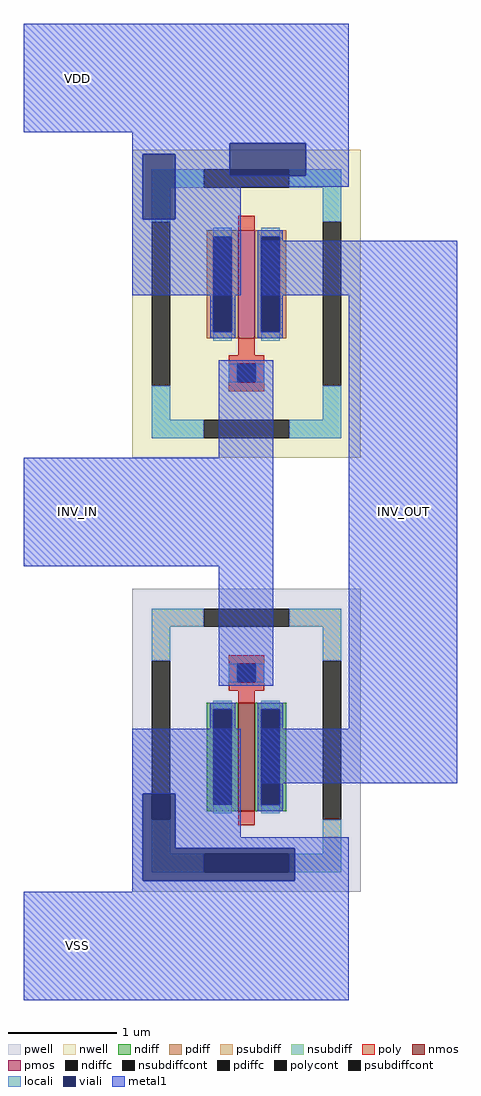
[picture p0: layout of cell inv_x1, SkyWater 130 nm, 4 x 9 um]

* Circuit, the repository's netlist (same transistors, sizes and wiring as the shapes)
** sch_path: /home/ttuser/tt_analog_z2a/xschem/inv_x1.sch
.subckt inv_x1 VDD VSS INV_OUT INV_IN
*.PININFO INV_IN:I INV_OUT:O VDD:B VSS:B
XM3 INV_OUT INV_IN VDD VDD sky130_fd_pr__pfet_01v8 L=0.15 W=1 nf=1 m=1
XM5 INV_OUT INV_IN VSS VSS sky130_fd_pr__nfet_01v8 L=0.15 W=1 nf=1 m=1
.ends
.end

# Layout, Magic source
magic
tech sky130A
magscale 1 2
<< viali >>
rect 420 40 480 160
rect 580 120 720 180
rect 420 -1120 480 -1020
rect 420 -1180 700 -1120
<< metal1 >>
rect 200 200 800 400
rect 400 180 800 200
rect 400 160 580 180
rect 400 40 420 160
rect 480 120 580 160
rect 720 120 800 180
rect 480 100 800 120
rect 480 40 600 100
rect 400 -100 600 40
rect 640 -100 1000 0
rect 560 -400 660 -220
rect 200 -600 660 -400
rect 560 -820 660 -600
rect 800 -900 1000 -100
rect 400 -1020 600 -900
rect 640 -1000 1000 -900
rect 400 -1180 420 -1020
rect 480 -1100 600 -1020
rect 480 -1120 800 -1100
rect 700 -1180 800 -1120
rect 400 -1200 800 -1180
rect 200 -1400 800 -1200
use sky130_fd_pr__pfet_01v8_LGS3BL  XM3
transform 1 0 611 0 1 -116
box -211 -284 211 284
use sky130_fd_pr__nfet_01v8_64Z3AY  XM5
transform 1 0 611 0 1 -921
box -211 -279 211 279
<< labels >>
flabel metal1 800 -600 1000 -400 0 FreeSans 256 0 0 0 INV_OUT
port 2 nsew
flabel metal1 200 -600 400 -400 0 FreeSans 256 0 0 0 INV_IN
port 3 nsew
flabel metal1 200 -1400 400 -1200 0 FreeSans 256 0 0 0 VSS
port 1 nsew
flabel metal1 200 200 400 400 0 FreeSans 256 0 0 0 VDD
port 0 nsew
<< end >>

# cell sky130_fd_pr__pfet_01v8_LGS3BL: kit device sky130_fd_pr__pfet_01v8, w 1.0 l 0.15 m 1 nf 1 diffcov 100 polycov 100 guard 1 glc 1 grc 1 gtc 1 gbc 1 tbcov 100 rlcov 100 topc 0 botc 1 poverlap 0 doverlap 1 lmin 0.15 wmin 0.42 compatible {sky130_fd_pr__pfet_01v8 sky130_fd_pr__pfet_01v8_lvt sky130_fd_pr__pfet_01v8_hvt sky130_fd_pr__pfet_g5v0d10v5} full_metal 1 viasrc 100 viadrn 100 viagate 100 viagb 0 viagr 0 viagl 0 viagt 0

# cell sky130_fd_pr__nfet_01v8_64Z3AY: kit device sky130_fd_pr__nfet_01v8, w 1.0 l 0.15 m 1 nf 1 diffcov 100 polycov 100 guard 1 glc 1 grc 1 gtc 1 gbc 1 tbcov 100 rlcov 100 topc 1 botc 0 poverlap 0 doverlap 1 lmin 0.15 wmin 0.42 compatible {sky130_fd_pr__nfet_01v8 sky130_fd_pr__nfet_01v8_lvt sky130_fd_bs_flash__special_sonosfet_star sky130_fd_pr__nfet_g5v0d10v5 sky130_fd_pr__nfet_05v0_nvt sky130_fd_pr__nfet_03v3_nvt} full_metal 1 viasrc 100 viadrn 100 viagate 100 viagb 0 viagr 0 viagl 0 viagt 0
